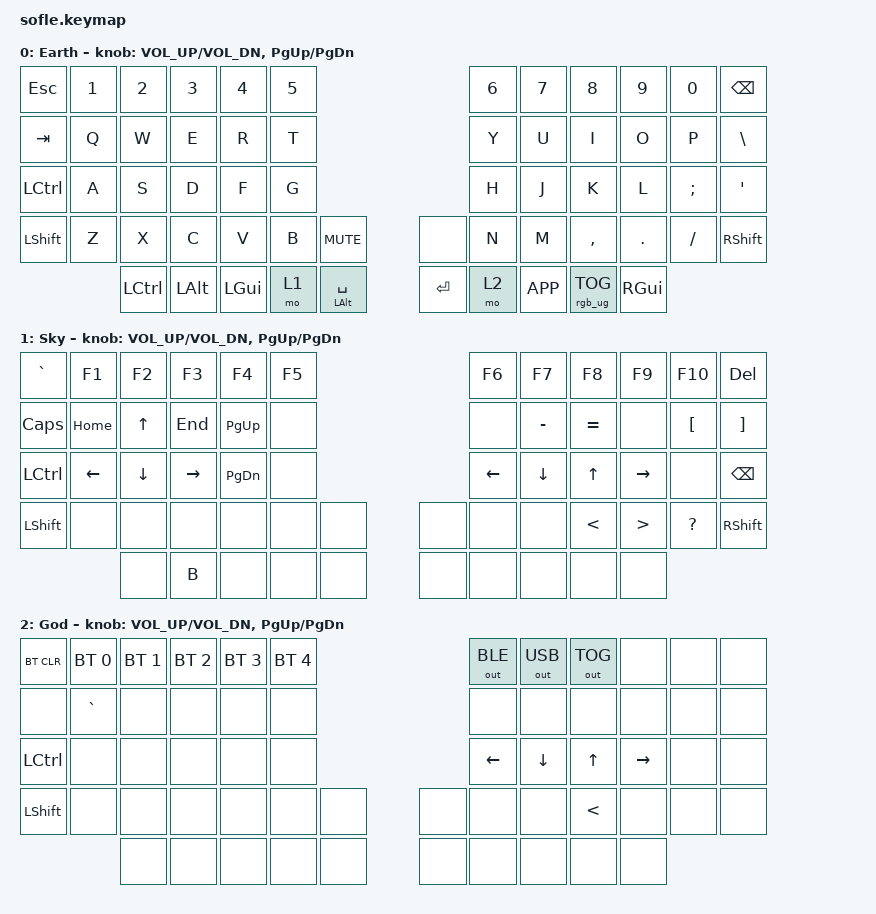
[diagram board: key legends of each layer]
#include <behaviors.dtsi>
#include <dt-bindings/zmk/bt.h>
#include <dt-bindings/zmk/keys.h>
#include <dt-bindings/zmk/outputs.h>
#include <dt-bindings/zmk/rgb.h>

/ {
    keymap {
        compatible = "zmk,keymap";

        // ------------------------------------------------------------------------------------------------------------
        // |  ESC  |  1  |  2  |  3   |  4   |  5   |                   |  6   |  7    |  8    |  9   |   0   | BKSPC |
        // |  TAB  |  Q  |  W  |  E   |  R   |  T   |                   |  Y   |  U    |  I    |  O   |   P   |   \   |
        // | SHIFT |  A  |  S  |  D   |  F   |  G   |                   |  H   |  J    |  K    |  L   |   ;   |   '   |
        // | LCTRL |  Z  |  X  |  C   |  V   |  B   |  MUTE  |  |       |  N   |  M    |  ,    |  .   |   /   | SHIFT |
        //               | GUI | ALT  | CTRL |  SKY |  ENTER |  | SPACE |  GOD | CTRL  | ALT   | GUI  |
        Earth {
            bindings = <
                &kp ESC     &kp N1  &kp N2     &kp N3    &kp N4    &kp N5                                 &kp N6  &kp N7     &kp N8           &kp N9    &kp N0    &kp BSPC
                &kp TAB     &kp Q   &kp W      &kp E     &kp R     &kp T                                  &kp Y   &kp U      &kp I            &kp O     &kp P     &kp BACKSLASH
                &kp LCTRL   &kp A   &kp S      &kp D     &kp F     &kp G                                  &kp H   &kp J      &kp K            &kp L     &kp SEMI  &kp SQT
                &kp LSHIFT  &kp Z   &kp X      &kp C     &kp V     &kp B   &kp C_MUTE            &none    &kp N   &kp M      &kp COMMA        &kp DOT   &kp FSLH  &kp RSHIFT
                &kp LCTRL  &kp LALT  &kp LGUI  &mo 1   &mt LEFT_ALT SPACE    &kp RET  &mo 2   &kp K_APP  &rgb_ug RGB_TOG  &kp RGUI
            >;

            sensor-bindings =
                <&inc_dec_kp C_VOL_UP C_VOL_DN>,
                <&inc_dec_kp PG_UP PG_DN>;
        };

        //                                 IN PROGRESS
        // -------------------------------------#-------------------------------------
        // |    |    |    |    |    |    |      #      |    |    |    |    |    |    |
        // |    |    |    |    |    |    |      #      |    |    |    |    |    |    |
        // |    |    |    |    |    |    |      #      |    |    |    |    |    |    |
        // |    |    |    |    |    |    |    | # |    |    |    |    |    |    |    |
        //           |    |    |    |    |    | # |    |    |    |    |    |
        Sky {
            bindings = <
                &kp GRAVE   &kp F1    &kp F2    &kp F3     &kp F4     &kp F5                  &kp F6    &kp F7     &kp F8         &kp F9            &kp F10           &kp DEL
                &kp CAPS    &kp HOME  &kp UP    &kp END    &kp PG_UP  &none                   &none     &kp MINUS  &kp EQUAL      &none             &kp LEFT_BRACKET  &kp RIGHT_BRACKET
                &kp LCTRL   &kp LEFT  &kp DOWN  &kp RIGHT  &kp PG_DN  &none                   &kp LEFT  &kp DOWN   &kp UP         &kp RIGHT         &none             &kp BSPC
                &kp LSHIFT  &none     &none     &none      &none      &none   &none    &none  &none     &none      &kp LESS_THAN  &kp GREATER_THAN  &kp QUESTION      &kp RSHIFT
                                      &none     &kp B      &none      &none   &none    &none  &none     &none      &none          &none
            >;

            sensor-bindings =
                <&inc_dec_kp C_VOL_UP C_VOL_DN>,
                <&inc_dec_kp PG_UP PG_DN>;
        };

        //                                 IN PROGRESS
        // -------------------------------------#-------------------------------------
        // |    |    |    |    |    |    |      #      |    |    |    |    |    |    |
        // |    |    |    |    |    |    |      #      |    |    |    |    |    |    |
        // |    |    |    |    |    |    |      #      |    |    |    |    |    |    |
        // |    |    |    |    |    |    |    | # |    |    |    |    |    |    |    |
        //           |    |    |    |    |    | # |    |    |    |    |    |
        God {
            bindings = <
                &bt BT_CLR      &bt BT_SEL 0  &bt BT_SEL 1  &bt BT_SEL 2  &bt BT_SEL 3  &bt BT_SEL 4                  &out OUT_BLE  &out OUT_USB  &out OUT_TOG  &none      &none  &none
                &none           &kp GRAVE     &none         &none         &none         &none                         &none         &none         &none         &none      &none  &none
                &kp LCTRL       &none         &none         &none         &none         &none                         &kp LEFT      &kp DOWN      &kp UP        &kp RIGHT  &none  &none
                &kp LEFT_SHIFT  &none         &none         &none         &none         &none         &none    &none  &none         &none         &kp LT        &none      &none  &none
                                              &none         &none         &none         &none         &none    &none  &none         &none         &none         &none
            >;

            sensor-bindings =
                <&inc_dec_kp C_VOL_UP C_VOL_DN>,
                <&inc_dec_kp PG_UP PG_DN>;
        };
    };
};
